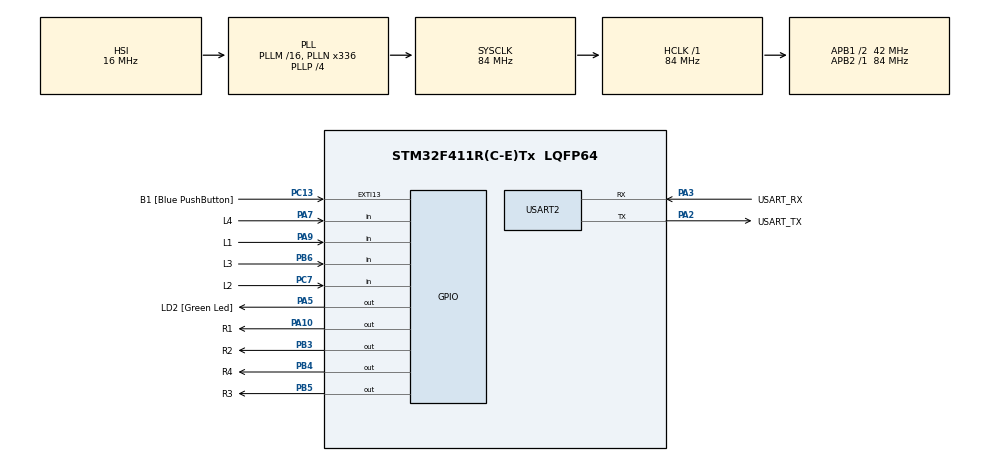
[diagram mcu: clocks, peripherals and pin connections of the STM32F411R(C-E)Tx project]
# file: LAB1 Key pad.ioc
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Mcu.Family=STM32F4
Mcu.Name=STM32F411R(C-E)Tx
Mcu.Package=LQFP64
NVIC.PriorityGroup=NVIC_PRIORITYGROUP_0
PA10.GPIO_Label=R1
PA10.PinState=GPIO_PIN_SET
PA10.Signal=GPIO_Output
PA13.GPIO_Label=TMS
PA13.Mode=Serial_Wire
PA13.Signal=SYS_JTMS-SWDIO
PA14.GPIO_Label=TCK
PA14.Mode=Serial_Wire
PA14.Signal=SYS_JTCK-SWCLK
PA2.GPIO_Label=USART_TX
PA2.Mode=Asynchronous
PA2.Signal=USART2_TX
PA3.GPIO_Label=USART_RX
PA3.Mode=Asynchronous
PA3.Signal=USART2_RX
PA5.GPIO_Label=LD2 [Green Led]
PA5.Signal=GPIO_Output
PA7.GPIO_Label=L4
PA7.GPIO_PuPd=GPIO_PULLUP
PA7.Signal=GPIO_Input
PA9.GPIO_Label=L1
PA9.GPIO_PuPd=GPIO_PULLUP
PA9.Signal=GPIO_Input
PB3.GPIO_Label=R2
PB3.PinState=GPIO_PIN_SET
PB3.Signal=GPIO_Output
PB4.GPIO_Label=R4
PB4.PinState=GPIO_PIN_SET
PB4.Signal=GPIO_Output
PB5.GPIO_Label=R3
PB5.PinState=GPIO_PIN_SET
PB5.Signal=GPIO_Output
PB6.GPIO_Label=L3
PB6.GPIO_PuPd=GPIO_PULLUP
PB6.Signal=GPIO_Input
PC13-ANTI_TAMP.GPIO_Label=B1 [Blue PushButton]
PC13-ANTI_TAMP.GPIO_ModeDefaultEXTI=GPIO_MODE_IT_FALLING
PC13-ANTI_TAMP.Signal=GPXTI13
PC14-OSC32_IN.Mode=LSE-External-Oscillator
PC14-OSC32_IN.Signal=RCC_OSC32_IN
PC15-OSC32_OUT.Mode=LSE-External-Oscillator
PC15-OSC32_OUT.Signal=RCC_OSC32_OUT
PC7.GPIO_Label=L2
PC7.GPIO_PuPd=GPIO_PULLUP
PC7.Signal=GPIO_Input
PH0\ -\ OSC_IN.Mode=HSE-External-Clock-Source
PH0\ -\ OSC_IN.Signal=RCC_OSC_IN
PH1\ -\ OSC_OUT.Mode=HSE-External-Clock-Source
PH1\ -\ OSC_OUT.Signal=RCC_OSC_OUT
ProjectManager.HeapSize=0x200
ProjectManager.StackSize=0x400
ProjectManager.TargetToolchain=STM32CubeIDE
RCC.48MHZClocksFreq_Value=84000000
RCC.AHBFreq_Value=84000000
RCC.APB1CLKDivider=RCC_HCLK_DIV2
RCC.APB1Freq_Value=42000000
RCC.APB1TimFreq_Value=84000000
RCC.APB2Freq_Value=84000000
RCC.APB2TimFreq_Value=84000000
RCC.CortexFreq_Value=84000000
RCC.FLatency-AdvancedSettings=FLASH_LATENCY_2
RCC.HCLKFreq_Value=84000000
RCC.HSE_VALUE=8000000
RCC.HSI_VALUE=16000000
RCC.PLLN=336
RCC.PLLP=RCC_PLLP_DIV4
RCC.SYSCLKFreq_VALUE=84000000
RCC.SYSCLKSource=RCC_SYSCLKSOURCE_PLLCLK
RCC.VCOOutputFreq_Value=336000000
USART2.VirtualMode=VM_ASYNC
board=NUCLEO-F411RE

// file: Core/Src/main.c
/* USER CODE BEGIN Header */
/**
  ******************************************************************************
  * @file           : main.c
  * @brief          : Main program body
  ******************************************************************************
  * @attention
  *
  * Copyright (c) 2023 STMicroelectronics.
  * All rights reserved.
  *
  * This software is licensed under terms that can be found in the LICENSE file
  * in the root directory of this software component.
  * If no LICENSE file comes with this software, it is provided AS-IS.
  *
  ******************************************************************************
  */
/* USER CODE END Header */
#include "main.h"

UART_HandleTypeDef huart2;

/* USER CODE BEGIN PV */

//create Structure of PortPin ,Typedef it to type name PortPin
typedef struct _PortPin
{
	GPIO_TypeDef* PORT;
	uint16_t PIN;
} PortPin;

//declare PortPin R,L
PortPin R[4] =
{
		{GPIOA,GPIO_PIN_10},
		{GPIOB,GPIO_PIN_3},
		{GPIOB,GPIO_PIN_5},
		{GPIOB,GPIO_PIN_4}
};

PortPin L[4] =
{
		{GPIOA,GPIO_PIN_9},
		{GPIOC,GPIO_PIN_7},
		{GPIOB,GPIO_PIN_6},
		{GPIOA,GPIO_PIN_7}
};

//For Button Contenter
uint32_t oldButtonMatrix = 0;
uint16_t ButtonMatrix=0;
/* USER CODE END PV */

void SystemClock_Config(void);
static void MX_GPIO_Init(void);
static void MX_USART2_UART_Init(void);
/* USER CODE BEGIN PFP */
void ReadMatrixButton_1Row();
void buttoncheck();
/* USER CODE END PFP */

int main(void)
{

  /* MCU Configuration--------------------------------------------------------*/

  /* Reset of all peripherals, Initializes the Flash interface and the Systick. */
  HAL_Init();

  /* Configure the system clock */
  SystemClock_Config();

  /* Initialize all configured peripherals */
  MX_GPIO_Init();
  MX_USART2_UART_Init();

  /* Infinite loop */
  while (1)
  {

    /* USER CODE BEGIN 3 */
	  //Call function every 10 ms = 100Hz
	  static uint32_t timestamp=0;
	  if(HAL_GetTick()>=timestamp)
	  {
		  timestamp =HAL_GetTick() + 10;
		  ReadMatrixButton_1Row();
	  }

		if (oldButtonMatrix == 0 && ButtonMatrix > 0){
			buttoncheck();
	 }
		oldButtonMatrix = ButtonMatrix;
  }

  }
  /* USER CODE END 3 */

void SystemClock_Config(void)
{
  RCC_OscInitTypeDef RCC_OscInitStruct = {0};
  RCC_ClkInitTypeDef RCC_ClkInitStruct = {0};

  /** Configure the main internal regulator output voltage
  */
  __HAL_RCC_PWR_CLK_ENABLE();
  __HAL_PWR_VOLTAGESCALING_CONFIG(PWR_REGULATOR_VOLTAGE_SCALE1);

  /** Initializes the RCC Oscillators according to the specified parameters
  * in the RCC_OscInitTypeDef structure.
  */
  RCC_OscInitStruct.OscillatorType = RCC_OSCILLATORTYPE_HSI;
  RCC_OscInitStruct.HSIState = RCC_HSI_ON;
  RCC_OscInitStruct.HSICalibrationValue = RCC_HSICALIBRATION_DEFAULT;
  RCC_OscInitStruct.PLL.PLLState = RCC_PLL_ON;
  RCC_OscInitStruct.PLL.PLLSource = RCC_PLLSOURCE_HSI;
  RCC_OscInitStruct.PLL.PLLM = 16;
  RCC_OscInitStruct.PLL.PLLN = 336;
  RCC_OscInitStruct.PLL.PLLP = RCC_PLLP_DIV4;
  RCC_OscInitStruct.PLL.PLLQ = 4;
  if (HAL_RCC_OscConfig(&RCC_OscInitStruct) != HAL_OK)
  {
    Error_Handler();
  }

  /** Initializes the CPU, AHB and APB buses clocks
  */
  RCC_ClkInitStruct.ClockType = RCC_CLOCKTYPE_HCLK|RCC_CLOCKTYPE_SYSCLK
                              |RCC_CLOCKTYPE_PCLK1|RCC_CLOCKTYPE_PCLK2;
  RCC_ClkInitStruct.SYSCLKSource = RCC_SYSCLKSOURCE_PLLCLK;
  RCC_ClkInitStruct.AHBCLKDivider = RCC_SYSCLK_DIV1;
  RCC_ClkInitStruct.APB1CLKDivider = RCC_HCLK_DIV2;
  RCC_ClkInitStruct.APB2CLKDivider = RCC_HCLK_DIV1;

  if (HAL_RCC_ClockConfig(&RCC_ClkInitStruct, FLASH_LATENCY_2) != HAL_OK)
  {
    Error_Handler();
  }
}

static void MX_USART2_UART_Init(void)
{

  huart2.Instance = USART2;
  huart2.Init.BaudRate = 115200;
  huart2.Init.WordLength = UART_WORDLENGTH_8B;
  huart2.Init.StopBits = UART_STOPBITS_1;
  huart2.Init.Parity = UART_PARITY_NONE;
  huart2.Init.Mode = UART_MODE_TX_RX;
  huart2.Init.HwFlowCtl = UART_HWCONTROL_NONE;
  huart2.Init.OverSampling = UART_OVERSAMPLING_16;
  if (HAL_UART_Init(&huart2) != HAL_OK)
  {
    Error_Handler();
  }

}

static void MX_GPIO_Init(void)
{
  GPIO_InitTypeDef GPIO_InitStruct = {0};

  /* GPIO Ports Clock Enable */
  __HAL_RCC_GPIOC_CLK_ENABLE();
  __HAL_RCC_GPIOH_CLK_ENABLE();
  __HAL_RCC_GPIOA_CLK_ENABLE();
  __HAL_RCC_GPIOB_CLK_ENABLE();

  /*Configure GPIO pin Output Level */
  HAL_GPIO_WritePin(LD2_GPIO_Port, LD2_Pin, GPIO_PIN_RESET);

  /*Configure GPIO pin Output Level */
  HAL_GPIO_WritePin(R1_GPIO_Port, R1_Pin, GPIO_PIN_SET);

  /*Configure GPIO pin Output Level */
  HAL_GPIO_WritePin(GPIOB, R2_Pin|R4_Pin|R3_Pin, GPIO_PIN_SET);

  /*Configure GPIO pin : B1_Pin */
  GPIO_InitStruct.Pin = B1_Pin;
  GPIO_InitStruct.Mode = GPIO_MODE_IT_FALLING;
  GPIO_InitStruct.Pull = GPIO_NOPULL;
  HAL_GPIO_Init(B1_GPIO_Port, &GPIO_InitStruct);

  /*Configure GPIO pin : LD2_Pin */
  GPIO_InitStruct.Pin = LD2_Pin;
  GPIO_InitStruct.Mode = GPIO_MODE_OUTPUT_PP;
  GPIO_InitStruct.Pull = GPIO_NOPULL;
  GPIO_InitStruct.Speed = GPIO_SPEED_FREQ_LOW;
  HAL_GPIO_Init(LD2_GPIO_Port, &GPIO_InitStruct);

  /*Configure GPIO pins : L4_Pin L1_Pin */
  GPIO_InitStruct.Pin = L4_Pin|L1_Pin;
  GPIO_InitStruct.Mode = GPIO_MODE_INPUT;
  GPIO_InitStruct.Pull = GPIO_PULLUP;
  HAL_GPIO_Init(GPIOA, &GPIO_InitStruct);

  /*Configure GPIO pin : L2_Pin */
  GPIO_InitStruct.Pin = L2_Pin;
  GPIO_InitStruct.Mode = GPIO_MODE_INPUT;
  GPIO_InitStruct.Pull = GPIO_PULLUP;
  HAL_GPIO_Init(L2_GPIO_Port, &GPIO_InitStruct);

  /*Configure GPIO pin : R1_Pin */
  GPIO_InitStruct.Pin = R1_Pin;
  GPIO_InitStruct.Mode = GPIO_MODE_OUTPUT_OD;
  GPIO_InitStruct.Pull = GPIO_NOPULL;
  GPIO_InitStruct.Speed = GPIO_SPEED_FREQ_LOW;
  HAL_GPIO_Init(R1_GPIO_Port, &GPIO_InitStruct);

  /*Configure GPIO pins : R2_Pin R4_Pin R3_Pin */
  GPIO_InitStruct.Pin = R2_Pin|R4_Pin|R3_Pin;
  GPIO_InitStruct.Mode = GPIO_MODE_OUTPUT_OD;
  GPIO_InitStruct.Pull = GPIO_NOPULL;
  GPIO_InitStruct.Speed = GPIO_SPEED_FREQ_LOW;
  HAL_GPIO_Init(GPIOB, &GPIO_InitStruct);

  /*Configure GPIO pin : L3_Pin */
  GPIO_InitStruct.Pin = L3_Pin;
  GPIO_InitStruct.Mode = GPIO_MODE_INPUT;
  GPIO_InitStruct.Pull = GPIO_PULLUP;
  HAL_GPIO_Init(L3_GPIO_Port, &GPIO_InitStruct);

}

/* USER CODE BEGIN 4 */
void ReadMatrixButton_1Row()
{
	//
	static uint8_t X = 0;

	//READ L1-L4
	register int i;
	for(i=0;i<4;i++)
	{
		if(HAL_GPIO_ReadPin(L[i].PORT, L[i].PIN))
		{
			ButtonMatrix &= ~(1<<(X*4+i));

		}
		else
		{
			ButtonMatrix |= 1<<(X*4+i);

		}

	}
	//SET RX
	HAL_GPIO_WritePin(R[X].PORT, R[X].PIN, 1);
	//RESET RX+1%4
	HAL_GPIO_WritePin(R[(X+1)%4].PORT, R[(X+1)%4].PIN, 0);
	X++;
	X%=4;

}

int state = 0;
void buttoncheck() {
	switch(state){
		case 0: /// 6
			if(ButtonMatrix == 512){
				state = 1;
			}
		//	else if (ButtonMatrix == 0){
		//		state = 0;
		//	}
			else {
				state = 12;
			}
			break;

		case 1: //// 4
			if(ButtonMatrix == 2){
				state = 2;

			}
		//	else if (ButtonMatrix == 0){
	//			state = 1;
	//		}
			else {
				state = 12;
			}
			break;

		case 2: //// 3
			if(ButtonMatrix == 1024){
				state = 3;

			}
			else if (ButtonMatrix == 0){
				state = 2;
			}
			else {
				state = 12;
			}
			break;

		case 3: /// 4
			if(ButtonMatrix == 2){
				state = 4;

			}
			else if (ButtonMatrix == 0){
				state = 3;
			}
			else {
				state = 12;
			}
			break;

		case 4: //// 0
			if(ButtonMatrix == 8){
				state = 5;
			}
			else if (ButtonMatrix == 0){
				state = 4;
			}
			else {
				state = 12;
			}
			break;

		case 5: //// 5
			if(ButtonMatrix == 32){
				state = 6;
			}
			else if (ButtonMatrix == 0){
				state = 5;
			}
			else {
				state = 12;
			}
			break;
		case 6: /// 0
			if(ButtonMatrix == 8){
				state = 7;
			}
			else if (ButtonMatrix == 0){
				state = 6;
			}
			else {
				state = 12;
			}
			break;
		case 7: //// 0
			if(ButtonMatrix == 8){
				state = 8;
			}
			else if (ButtonMatrix == 0){
				state = 7;
			}
			else {
				state = 12;
			}
			break;
		case 8: //// 0
			if(ButtonMatrix == 8){
				state = 9;
			}
			else if (ButtonMatrix == 0){
				state = 8;
			}
			else {
				state = 12;
			}
			break;
		case 9: /// 5
			if(ButtonMatrix == 32){
				state = 10;
			}
			else if (ButtonMatrix == 0){
				state = 5;
			}
			else {
				state = 12;
			}
			break;
		case 10: //// 9
			if(ButtonMatrix == 256){
				state = 11;
			}
			else if (ButtonMatrix == 0){
				state = 10;
			}
			else {
				state = 12;
			}
			break;
		case 11: //// OK
			if(ButtonMatrix == 32768){
				state = 13;
				HAL_GPIO_WritePin(GPIOA, GPIO_PIN_5,SET);
			}
			else if (ButtonMatrix == 0){
				state = 11;
			}
			else {
				state = 11;
			}
			break;
		case 12: /// Clear Fail
			if(ButtonMatrix == 4096){
				state = 0;
			}
			else if (ButtonMatrix == 0){
				state = 12;
			}
			else {
				state = 12;
			}
			break;

		case 13: //// Clear Success
			if(ButtonMatrix == 4096){
				state = 0;
				HAL_GPIO_WritePin(GPIOA, GPIO_PIN_5,RESET);
			}
			else {
				state = 13;
			}
			break;
	}
}

/* USER CODE END 4 */

void Error_Handler(void)
{
  __disable_irq();
  while (1)
  {
  }
}
